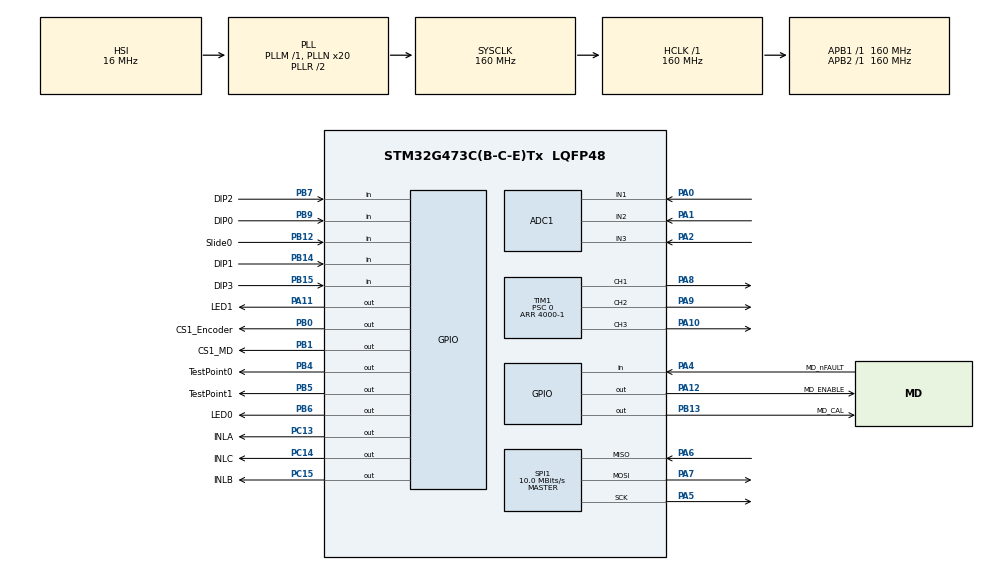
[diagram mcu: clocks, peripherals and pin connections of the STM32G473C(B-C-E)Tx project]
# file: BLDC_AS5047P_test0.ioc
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ADC1.DiscontinuousConvMode=DISABLE
ADC1.EnableInjectedConversion=ENABLE
ADC1.EnableRegularConversion=DISABLE
ADC1.ExternalTrigInjecConv=ADC_EXTERNALTRIGINJEC_T1_TRGO2
ADC1.InjNumberOfConversion=3
ADC1.InjectedChannel-3\#ChannelInjectedConversion=ADC_CHANNEL_1
ADC1.InjectedChannel-4\#ChannelInjectedConversion=ADC_CHANNEL_2
ADC1.InjectedChannel-5\#ChannelInjectedConversion=ADC_CHANNEL_3
ADC1.InjectedOffsetNumber-3\#ChannelInjectedConversion=ADC_OFFSET_NONE
ADC1.InjectedOffsetNumber-4\#ChannelInjectedConversion=ADC_OFFSET_NONE
ADC1.InjectedOffsetNumber-5\#ChannelInjectedConversion=ADC_OFFSET_NONE
ADC1.InjectedRank-3\#ChannelInjectedConversion=1
ADC1.InjectedRank-4\#ChannelInjectedConversion=2
ADC1.InjectedRank-5\#ChannelInjectedConversion=3
ADC1.InjectedSamplingTime-3\#ChannelInjectedConversion=ADC_SAMPLETIME_12CYCLES_5
ADC1.InjectedSamplingTime-4\#ChannelInjectedConversion=ADC_SAMPLETIME_12CYCLES_5
ADC1.InjectedSamplingTime-5\#ChannelInjectedConversion=ADC_SAMPLETIME_12CYCLES_5
ADC1.OversamplingMode=DISABLE
ADC1.Rank1_Channel=ADC_CHANNEL_1
ADC1.Rank2_Channel=ADC_CHANNEL_2
ADC1.Rank3_Channel=ADC_CHANNEL_3
ADC1.master=1
Mcu.Family=STM32G4
Mcu.Name=STM32G473C(B-C-E)Tx
Mcu.Package=LQFP48
NVIC.ADC1_2_IRQn=true\:8\:0\:true\:false\:true\:true\:true\:true
NVIC.PriorityGroup=NVIC_PRIORITYGROUP_4
NVIC.TIM1_CC_IRQn=true\:7\:0\:true\:false\:true\:true\:true\:true
NVIC.TIM3_IRQn=true\:6\:0\:true\:false\:true\:true\:true\:true
PA0.Mode=IN1-Single-Ended
PA0.Signal=ADC1_IN1
PA1.Mode=IN2-Single-Ended
PA1.Signal=ADC1_IN2
PA10.Signal=S_TIM1_CH3
PA11.GPIO_Label=LED1
PA11.Signal=GPIO_Output
PA12.GPIO_Label=MD_ENABLE
PA12.Signal=GPIO_Output
PA13.Mode=Trace_Asynchronous_SW
PA13.Signal=SYS_JTMS-SWDIO
PA14.Mode=Trace_Asynchronous_SW
PA14.Signal=SYS_JTCK-SWCLK
PA2.Mode=IN3-Single-Ended
PA2.Signal=ADC1_IN3
PA4.GPIO_Label=MD_nFAULT
PA4.Signal=GPIO_Input
PA5.GPIO_Speed=GPIO_SPEED_FREQ_MEDIUM
PA5.Mode=Full_Duplex_Master
PA5.Signal=SPI1_SCK
PA6.GPIO_Speed=GPIO_SPEED_FREQ_MEDIUM
PA6.Mode=Full_Duplex_Master
PA6.Signal=SPI1_MISO
PA7.GPIO_Speed=GPIO_SPEED_FREQ_MEDIUM
PA7.Mode=Full_Duplex_Master
PA7.Signal=SPI1_MOSI
PA8.Signal=S_TIM1_CH1
PA9.Signal=S_TIM1_CH2
PB0.GPIO_Label=CS1_Encoder
PB0.PinState=GPIO_PIN_SET
PB0.Signal=GPIO_Output
PB1.GPIO_Label=CS1_MD
PB1.PinState=GPIO_PIN_SET
PB1.Signal=GPIO_Output
PB12.GPIO_Label=Slide0
PB12.Signal=GPIO_Input
PB13.GPIO_Label=MD_CAL
PB13.Signal=GPIO_Output
PB14.GPIO_Label=DIP1
PB14.Signal=GPIO_Input
PB15.GPIO_Label=DIP3
PB15.Signal=GPIO_Input
PB3.Mode=Trace_Asynchronous_SW
PB3.Signal=SYS_JTDO-SWO
PB4.GPIO_Label=TestPoint0
PB4.Signal=GPIO_Output
PB5.GPIO_Label=TestPoint1
PB5.Signal=GPIO_Output
PB6.GPIO_Label=LED0
PB6.Signal=GPIO_Output
PB7.GPIO_Label=DIP2
PB7.Signal=GPIO_Input
PB9.GPIO_Label=DIP0
PB9.Signal=GPIO_Input
PC13.GPIO_Label=INLA
PC13.Signal=GPIO_Output
PC14-OSC32_IN.GPIO_Label=INLC
PC14-OSC32_IN.Signal=GPIO_Output
PC15-OSC32_OUT.GPIO_Label=INLB
PC15-OSC32_OUT.Signal=GPIO_Output
PF0-OSC_IN.Mode=HSE-External-Oscillator
PF0-OSC_IN.Signal=RCC_OSC_IN
PF1-OSC_OUT.Mode=HSE-External-Oscillator
PF1-OSC_OUT.Signal=RCC_OSC_OUT
ProjectManager.HeapSize=0x200
ProjectManager.StackSize=0x400
ProjectManager.TargetToolchain=STM32CubeIDE
RCC.ADC12Freq_Value=160000000
RCC.ADC345Freq_Value=160000000
RCC.AHBFreq_Value=160000000
RCC.APB1Freq_Value=160000000
RCC.APB1TimFreq_Value=160000000
RCC.APB2Freq_Value=160000000
RCC.APB2TimFreq_Value=160000000
RCC.CortexFreq_Value=160000000
RCC.EXTERNAL_CLOCK_VALUE=12288000
RCC.HCLKFreq_Value=160000000
RCC.HSE_VALUE=16000000
RCC.HSI48_VALUE=48000000
RCC.HSI_VALUE=16000000
RCC.LSE_VALUE=32768
RCC.PLLN=20
RCC.SYSCLKFreq_VALUE=160000000
RCC.SYSCLKSource=RCC_SYSCLKSOURCE_PLLCLK
RCC.USBFreq_Value=160000000
RCC.VCOOutputFreq_Value=320000000
SH.S_TIM1_CH1.0=TIM1_CH1,PWM Generation1 CH1
SH.S_TIM1_CH2.0=TIM1_CH2,PWM Generation2 CH2
SH.S_TIM1_CH3.0=TIM1_CH3,PWM Generation3 CH3
SPI1.BaudRatePrescaler=SPI_BAUDRATEPRESCALER_16
SPI1.CLKPhase=SPI_PHASE_2EDGE
SPI1.CLKPolarity=SPI_POLARITY_LOW
SPI1.CalculateBaudRate=10.0 MBits/s
SPI1.DataSize=SPI_DATASIZE_16BIT
SPI1.Direction=SPI_DIRECTION_2LINES
SPI1.Mode=SPI_MODE_MASTER
SPI1.VirtualType=VM_MASTER
TIM1.Channel-PWM\ Generation1\ CH1=TIM_CHANNEL_1
TIM1.Channel-PWM\ Generation2\ CH2=TIM_CHANNEL_2
TIM1.Channel-PWM\ Generation3\ CH3=TIM_CHANNEL_3
TIM1.Channel-PWM\ Generation4\ No\ Output=TIM_CHANNEL_4
TIM1.CounterMode=TIM_COUNTERMODE_CENTERALIGNED3
TIM1.OCMode_PWM-PWM\ Generation4\ No\ Output=TIM_OCMODE_PWM2
TIM1.PeriodNoDither=4000-1
TIM1.Prescaler=0
TIM1.TIM_MasterOutputTrigger=TIM_TRGO_UPDATE
TIM1.TIM_MasterOutputTrigger2=TIM_TRGO2_OC4REF
TIM3.Channel-PWM\ Generation1\ CH1=TIM_CHANNEL_1
TIM3.Channel-PWM\ Generation2\ CH2=TIM_CHANNEL_2
TIM3.Channel-PWM\ Generation3\ CH3=TIM_CHANNEL_3
TIM3.PeriodNoDither=65536-1
TIM3.Prescaler=15
VP_CORDIC_VS_CORDIC.Mode=CORDIC_Activate
VP_FMAC_VS_FMAC.Mode=FMAC_Activate
VP_SYS_VS_DBSignals.Mode=DisableDeadBatterySignals
VP_TIM1_VS_ClockSourceINT.Mode=Internal
VP_TIM1_VS_no_output4.Mode=PWM Generation4 No Output
VP_TIM3_VS_ClockSourceINT.Mode=Internal
board=custom

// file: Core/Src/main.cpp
/* USER CODE BEGIN Header */
/**
  ******************************************************************************
  * @file           : main.c
  * @brief          : Main program body
  ******************************************************************************
  * @attention
  *
  * Copyright (c) 2024 STMicroelectronics.
  * All rights reserved.
  *
  * This software is licensed under terms that can be found in the LICENSE file
  * in the root directory of this software component.
  * If no LICENSE file comes with this software, it is provided AS-IS.
  *
  ******************************************************************************
  */
/* USER CODE END Header */
#include "main.h"

/* USER CODE BEGIN Includes */
#include "DRV8323S.h"
#include "AS5047P.h"
#include <stdio.h>
#include <stdlib.h>
#include <stdbool.h>
#include <math.h>
#include <stm32g4xx_hal_cordic.h>
/* USER CODE END Includes */

/* USER CODE BEGIN PD */
#define n_polepairs 7
#define FMAC_window 20

////PID gain
//#define K_p_omega_mech 10
//#define K_i_omega_mech 10//multiplied T_s/2, 2^16
//
//#define K_p_i_d 1
//#define K_i_i_d 1//multiplied T_s/2
//
//#define K_p_i_q 1
//#define K_i_i_q 1//multiplied T_s/2

/* USER CODE END PD */

ADC_HandleTypeDef hadc1;

CORDIC_HandleTypeDef hcordic;

FMAC_HandleTypeDef hfmac;

SPI_HandleTypeDef hspi1;

TIM_HandleTypeDef htim1;
TIM_HandleTypeDef htim3;

/* USER CODE BEGIN PV */

//SYSTEM//
//GPIO handler array
__GPIO_Handle_TypeDef DRV8323S_GPIO_Handle_Array[7];

//PWM handler array
__PWM_Handle_TypeDef DRV8323S_PWM_Handle_Array[3];

//time
uint32_t cnt_ovf_TIM3 = 0;

uint64_t t_prev_loop_100ns = 0;
uint64_t t_curr_loop_100ns = 0;
int64_t T_loop_100ns = 0;

uint64_t t_prev_100ns = 0;
uint64_t t_start_100ns = 0;
uint64_t t_end_100ns = 0;

int64_t T_s_100ns = 0;
int64_t T_proc_100ns = 0;

//LED
uint64_t t_Ltika_prev_100ns = 0;

uint16_t cnt_Ltika_0 = 0;
uint8_t flag_LED0 = 0;
uint8_t flag_LED1 = 0;

//angle
uint16_t theta_init = 0;

uint16_t theta_mech_curr = 0;
uint16_t theta_elec_curr = 0;
uint16_t theta_mech_prev = 0;
//uint16_t theta_elec_prev = 0;
uint32_t theta_mech_curr_x256 = 0;
uint32_t theta_mech_prev_x256 = 0;

//speed
int16_t omega_mech_curr_x256 = 0;
//int16_t omega_elec_curr_x256 = 0;
int16_t omega_mech_prev_x256= 0;
//int16_t omega_elec_prev_x256 = 0;

//filtered speed
int16_t omega_mech_filt_curr_x256 = 0;
int16_t omega_mech_filt_prev_x256 = 0;

//FMAC
int16_t FMAC_coeff[FMAC_window] = {0};
int16_t FMAC_in = 0;
int16_t FMAC_out = 0;

//CORDIC
uint32_t CORDIC_in = 0;
uint32_t CORDIC_out = 0;
int16_t sincos_theta[2] = {0};//fixed point number, [0]=sin, [1]=cos
int32_t sincos_theta_xrt3[2] = {0};////multiplied root3, fixed point number, [0]=sin, [1]=cos

//ADC, current
uint16_t adc_raw_uvw[3] = {0};
int16_t i_uvw[3] = {0};
int16_t i_dq[2] = {0};

//PI
//PI gain
int32_t K_p_omega_mech = 100;
int32_t K_i_omega_mech = 30;//multiplied T_s/2, 2^10

int32_t K_p_i_d = 100;
int32_t K_i_i_d = 100;//multiplied T_s/2, 2^10

int32_t K_p_i_q = 100;
int32_t K_i_i_q = 100;//multiplied T_s/2, 2^10

int32_t anti_windup_omega_mech = 100000;
int32_t anti_windup_i_dq[2] = {50000, 50000};

//reference
int16_t omega_mech_ref_x256 = 0;
int16_t i_dq_ref[2] = {0};

//error
int32_t e_omega_mech_curr_x256 = 0;
int32_t e_omega_mech_prev_x256 = 0;
int32_t int_e_omega_mech_x256 = 0;

int32_t e_i_dq_curr[2] = {0};
int32_t e_i_dq_prev[2] = {0};
int32_t int_e_i_dq[2] = {0};

//voltage
int16_t v_uvw[3] = {0};
int16_t v_dq[2] = {0};

//output
uint16_t dutys[3] = {0};//0 ~ 3999 (limit ~3300)
//bool flag_bridge_hiZ[3] = {0};//0 or 1, if 0:Hi-Z/1:drive
bool flag_drive_slide = 0;
bool flag_drive_UI = 0;

//USER//
float RPS = 0.0;//Roll Per Second, if minus sign; reverse(-9 ~ 9)
float RPS_elec = 0.0;//Roll Per Second : electric, mul7

//DEBUG//
float onetime_variable = 0;

//int val_CCR1 = 0;
//int val_CCR2 = 0;
//int val_CCR3 = 0;
//
//int16_t val_past_ref_angle_mul10 = 0;//0 ~ 3599, past angle multiplied by 10
//int16_t val_ref_angle_mul10 = 0;//0 ~ 3599, now angle multiplied by 10
//int16_t val_ref_phases_mul10[3] = {0};//0 ~ 3599, reference each(UVW) phases
//
//int loop_counter = 0;//count loop times

//int reg_TIM1_DIER = 0x0;
//int reg_TIM1_SR = 0x0;
//int reg_TIM1_CCER = 0x0;
//int reg_TIM1_CR1 = 0x0;
//int reg_TIM1_CCMR2 = 0x0;
//
//int reg_TIM3_DIER = 0x0;
//int reg_TIM3_SR = 0x0;
//int reg_TIM3_CCER = 0x0;
//int reg_TIM3_CR1 = 0x0;
//int reg_TIM3_CCMR2 = 0x0;

//int reg_CORDIC_CSR = 0x0;

//int temp0 = 0;
//int temp1 = 0;

int duty_phaseA = 0;//~3300

//int temp_omega_mech_curr = 0;

/* USER CODE END PV */

void SystemClock_Config(void);
static void MX_GPIO_Init(void);
static void MX_SPI1_Init(void);
static void MX_TIM3_Init(void);
static void MX_TIM1_Init(void);
static void MX_ADC1_Init(void);
static void MX_CORDIC_Init(void);
static void MX_FMAC_Init(void);
/* USER CODE BEGIN PFP */
void DRV8323SHandleArray_setup(__GPIO_Handle_TypeDef*, __PWM_Handle_TypeDef*);
void FMAC_setup_FIR(int16_t*);
void write_FMAC(int16_t);
int16_t read_FMAC();
/* USER CODE END PFP */

/* USER CODE BEGIN 0 */
void HAL_TIM_PeriodElapsedCallback(TIM_HandleTypeDef *htim){
    if (htim == &htim3){
    	cnt_ovf_TIM3 ++;
    }
}

//void HAL_TIM_PWM_PulseFinishedCallback(TIM_HandleTypeDef *htim){
//    HAL_GPIO_TogglePin(TestPoint1_GPIO_Port, TestPoint1_Pin);
//}

void HAL_ADCEx_InjectedConvCpltCallback(ADC_HandleTypeDef *hadc){
	//DEBUG//
	//calculate time
	t_start_100ns = (((uint64_t)cnt_ovf_TIM3) << 16) + (TIM3 -> CNT);
	T_s_100ns = t_start_100ns - t_prev_100ns;

	//toggle TP
	HAL_GPIO_TogglePin(TestPoint0_GPIO_Port, TestPoint0_Pin);
	//DEBUG//

	//get angle
	uint16_t Send_Data = 0xFFFFu;
	uint16_t Receive_Data = 0;
	HAL_GPIO_WritePin(CS1_Encoder_GPIO_Port, CS1_Encoder_Pin, GPIO_PIN_RESET);//CS1_MD->0
	HAL_SPI_TransmitReceive(&hspi1, (uint8_t*)(&Send_Data), (uint8_t*)(&Receive_Data), 1, 100);//SPI send&receive
	HAL_GPIO_WritePin(CS1_Encoder_GPIO_Port, CS1_Encoder_Pin, GPIO_PIN_SET);//CS1_MD->1
	Receive_Data &= 0x3FFF; //mask angle data

	theta_mech_curr = (Receive_Data - theta_init) & 0x3FFFu; // scaling mechanical angle as 0 ~ 16383 (14bit)
	theta_elec_curr = ((theta_mech_curr * n_polepairs) & 0x3FFFu) << 2; // calculate electrical angle as 0 ~ 65535 (16bit)

	//start CORDIC
	CORDIC_in = theta_elec_curr; //substitute angle data for CORDIC argument (unsigned -> signed)
	CORDIC->WDATA = (0x7FFFu << 16) | CORDIC_in; //set ARG2 as m=1, and ARG1 (-1 ~ 1)

	//calc speed
	omega_mech_curr_x256 = ((int16_t)(theta_mech_curr - theta_mech_prev)) << 8;

	//start FMAC
	FMAC_in = omega_mech_curr_x256;
	write_FMAC(FMAC_in);

	//get current
	adc_raw_uvw[0] = ADC1->JDR1;
	adc_raw_uvw[1] = ADC1->JDR2;
	adc_raw_uvw[2] = ADC1->JDR3;

	i_uvw[0] = ((int16_t)(adc_raw_uvw[0]) - 2048) * 305 / 106;
	i_uvw[1] = ((int16_t)(adc_raw_uvw[1]) - 2048) * 305 / 106;
	i_uvw[2] = ((int16_t)(adc_raw_uvw[2]) - 2048) * 305 / 106;

	//read CORDIC
	while((CORDIC->CSR&0x80000000u)==0){};

	CORDIC_out = CORDIC->RDATA;
	sincos_theta[0] = (int16_t)(CORDIC_out);//RES1 = sin
	sincos_theta[1] = (int16_t)(CORDIC_out >> 16);//RES2 = cos

	//calc sincos root3 table : multiply by root3
	sincos_theta_xrt3[0] = sincos_theta[0] * 5042 / 2911;
	sincos_theta_xrt3[1] = sincos_theta[1] * 5042 / 2911;

	//uvw -> dq
	i_dq[0] = (( 2 * sincos_theta[1] * i_uvw[0]
			+ (-sincos_theta[1] + sincos_theta_xrt3[0]) * i_uvw[1]
			+ (-sincos_theta[1] - sincos_theta_xrt3[0]) * i_uvw[2]) / 3) >> 15;//[0] = i_d, gain = 40
	i_dq[1] = ((-2 * sincos_theta[0] * i_uvw[0]
			+ ( sincos_theta[0] + sincos_theta_xrt3[1]) * i_uvw[1]
			+ ( sincos_theta[0] - sincos_theta_xrt3[1]) * i_uvw[2]) / 3) >> 15;//[1] = i_q, gain = 40

	//read FMAC
	FMAC_out = read_FMAC();
	omega_mech_filt_curr_x256 = FMAC_out;

	//PI speed control : speed -> current
	e_omega_mech_curr_x256 = omega_mech_ref_x256 - omega_mech_filt_curr_x256;
	int_e_omega_mech_x256 += e_omega_mech_curr_x256;
	//i_d=0 control
	i_dq_ref[0] = 0;
	i_dq_ref[1] = (K_p_omega_mech * e_omega_mech_curr_x256
				+  K_i_omega_mech * int_e_omega_mech_x256) >> 10;

	//limit integer
	if(int_e_omega_mech_x256 > (anti_windup_omega_mech))
		{int_e_omega_mech_x256 = (anti_windup_omega_mech);}
	else if(int_e_omega_mech_x256 < -(anti_windup_omega_mech))
		{int_e_omega_mech_x256 = -(anti_windup_omega_mech);}
	else{int_e_omega_mech_x256 = int_e_omega_mech_x256;}

	//PI current control : current -> voltage
	//i_d control
	e_i_dq_curr[0] = i_dq_ref[0] - i_dq[0];
	int_e_i_dq[0] += e_i_dq_curr[0];

	v_dq[0] = (K_p_i_d * e_i_dq_curr[0]
			+  K_i_i_d * int_e_i_dq[0]) >> 10;

	//i_q control
	e_i_dq_curr[1] = i_dq_ref[1] - i_dq[1];
	int_e_i_dq[1] += e_i_dq_curr[1];

	v_dq[1] = (K_p_i_q * e_i_dq_curr[1]
			+  K_i_i_q * int_e_i_dq[1]) >> 10;

	//limit integer
	for(int i=0; i<2; i++){
		if(int_e_i_dq[i] > (anti_windup_i_dq[i]))
			{int_e_i_dq[i] = (anti_windup_i_dq[i]);}
		else if(int_e_i_dq[i] < -(anti_windup_i_dq[i]))
			{int_e_i_dq[i] = -(anti_windup_i_dq[i]);}
		else{int_e_i_dq[i] = int_e_i_dq[i];}
	}

	//dq -> uvw
	v_uvw[0] = (((2 * sincos_theta[1]) * v_dq[0]
			 + ( -2 * sincos_theta[0]) * v_dq[1]) >> 1) >> 15;//[0] = v_u
	v_uvw[1] = (((-sincos_theta[1] + sincos_theta_xrt3[0]) * v_dq[0]
			 + (   sincos_theta[0] + sincos_theta_xrt3[1]) * v_dq[1]) >> 1) >> 15;//[1] = v_v
	v_uvw[2] = (((-sincos_theta[1] - sincos_theta_xrt3[0]) * v_dq[0]
			 + (   sincos_theta[0] - sincos_theta_xrt3[1]) * v_dq[1]) >> 1) >> 15;//[2] = v_w

	//calc dutys
	int16_t __dutys[3] = {0};
	__dutys[0] = 1999 + v_uvw[0];
	__dutys[1] = 1999 + v_uvw[1];
	__dutys[2] = 1999 + v_uvw[2];

	//limit dutys
	for(int i=0; i<3; i++){
		if(__dutys[i] > 3300){dutys[i] = 3300;}
		else if(__dutys[i] < 0){dutys[i] = 0;}
		else{dutys[i] = __dutys[i];}
	}

	//read drive flag
	flag_drive_slide = HAL_GPIO_ReadPin(Slide0_GPIO_Port, Slide0_Pin);

	//set compare
	if((flag_drive_slide == 1) && (flag_drive_UI == 1)){
		HAL_GPIO_WritePin(INLA_GPIO_Port, INLA_Pin, GPIO_PIN_SET);
		__HAL_TIM_SET_COMPARE(&htim1, TIM_CHANNEL_1, dutys[0]);

		HAL_GPIO_WritePin(INLB_GPIO_Port, INLB_Pin, GPIO_PIN_SET);
		__HAL_TIM_SET_COMPARE(&htim1, TIM_CHANNEL_2, dutys[1]);

		HAL_GPIO_WritePin(INLC_GPIO_Port, INLC_Pin, GPIO_PIN_SET);
		__HAL_TIM_SET_COMPARE(&htim1, TIM_CHANNEL_3, dutys[2]);
	}else{
		HAL_GPIO_WritePin(INLA_GPIO_Port, INLA_Pin, GPIO_PIN_RESET);
		__HAL_TIM_SET_COMPARE(&htim1, TIM_CHANNEL_1, 0);

		HAL_GPIO_WritePin(INLB_GPIO_Port, INLB_Pin, GPIO_PIN_RESET);
		__HAL_TIM_SET_COMPARE(&htim1, TIM_CHANNEL_2, 0);

		HAL_GPIO_WritePin(INLC_GPIO_Port, INLC_Pin, GPIO_PIN_RESET);
		__HAL_TIM_SET_COMPARE(&htim1, TIM_CHANNEL_3, 0);

		//reset integer
		int_e_omega_mech_x256 = 0;
		int_e_i_dq[0] = 0;
		int_e_i_dq[1] = 0;
	}

	//substitute NOW data for PAST data
	theta_mech_prev = theta_mech_curr;
	theta_mech_prev_x256 = theta_mech_curr_x256;
	omega_mech_prev_x256 = omega_mech_curr_x256;
	e_omega_mech_prev_x256 = e_omega_mech_curr_x256;

	//DEBUG//
    //calc time
	t_prev_100ns = t_start_100ns;
	t_end_100ns = (((uint64_t)cnt_ovf_TIM3) << 16) + (TIM3 -> CNT);
	T_proc_100ns = t_end_100ns - t_start_100ns;
	//DEBUG//
}

/* USER CODE END 0 */

int main(void)
{

  /* MCU Configuration--------------------------------------------------------*/

  /* Reset of all peripherals, Initializes the Flash interface and the Systick. */
  HAL_Init();

  /* Configure the system clock */
  SystemClock_Config();

  /* Initialize all configured peripherals */
  MX_GPIO_Init();
  MX_SPI1_Init();
  MX_TIM3_Init();
  MX_TIM1_Init();
  MX_ADC1_Init();
  MX_CORDIC_Init();
  MX_FMAC_Init();
  /* USER CODE BEGIN 2 */

  //calc FMAC coeff
  for(int i=0; i<FMAC_window; i++){
      FMAC_coeff[i] = ((6 * (i+1) * (FMAC_window - i)) << 15)
                      /(FMAC_window * FMAC_window * FMAC_window
                    		  + 3 * FMAC_window * FMAC_window
							  + 2 * FMAC_window);
  }

  //set FMAC as FIR
  FMAC_setup_FIR(FMAC_coeff);

  //set ADC
  HAL_ADCEx_Calibration_Start(&hadc1, ADC_SINGLE_ENDED);
  HAL_ADC_Start(&hadc1);
//  HAL_ADCEx_InjectedStart_IT(&hadc1);

  //set timer
  HAL_TIM_Base_Start_IT(&htim3);
  HAL_TIM_PWM_Start(&htim1, TIM_CHANNEL_1);
  HAL_TIM_PWM_Start(&htim1, TIM_CHANNEL_2);
  HAL_TIM_PWM_Start(&htim1, TIM_CHANNEL_3);
  HAL_TIM_PWM_Start(&htim1, TIM_CHANNEL_4);
//  HAL_TIM_PWM_Start_IT(&htim1, TIM_CHANNEL_4);
//  TIM1 -> DIER |= 0b10000;
  TIM1 -> CCR4 = 3999 - 550; //set ADC trigger compare

  //set time counter
  t_curr_loop_100ns = (((uint64_t)cnt_ovf_TIM3) << 16) + (TIM3 -> CNT);
  t_prev_loop_100ns = t_curr_loop_100ns;
  t_Ltika_prev_100ns = t_curr_loop_100ns;

  //set LED
  HAL_GPIO_WritePin(LED0_GPIO_Port, LED0_Pin, GPIO_PIN_SET);
  flag_LED0 = 1;
  HAL_GPIO_WritePin(LED1_GPIO_Port, LED1_Pin, GPIO_PIN_RESET);
  flag_LED1 = 0;

  //set Class
  DRV8323SHandleArray_setup(DRV8323S_GPIO_Handle_Array, DRV8323S_PWM_Handle_Array);//setting Handle Arrays
  DRV8323S drv8323s(DRV8323S_GPIO_Handle_Array, DRV8323S_PWM_Handle_Array, &hspi1);
  AS5047P as5047p(&hspi1, CS1_Encoder_GPIO_Port, CS1_Encoder_Pin);

  //standby
  HAL_Delay(2000);

  /* USER CODE END 2 */

  /* Infinite loop */
  /* USER CODE BEGIN WHILE */

  //set DRV8323
  if(drv8323s.setup() == 0){
  }else{//ERROR
	  while(1){
		  HAL_GPIO_TogglePin(LED0_GPIO_Port, LED0_Pin);
		  flag_LED0 += 1;
		  flag_LED0 %= 2;

		  HAL_GPIO_TogglePin(LED1_GPIO_Port, LED1_Pin);
		  flag_LED1 += 1;
		  flag_LED1 %= 2;

		  HAL_Delay(100);
	  }
  }

  //set AS5047P
  //lock motor
  drv8323s.PWM_OUT(0, GPIO_PIN_SET, 0);
  drv8323s.PWM_OUT(1, GPIO_PIN_SET, 0);
  drv8323s.PWM_OUT(2, GPIO_PIN_SET, 0);

  //slow start
  int lock_duty = 0;
  while(lock_duty < 600){
	  drv8323s.PWM_OUT(0, GPIO_PIN_SET, lock_duty);
	  drv8323s.PWM_OUT(1, GPIO_PIN_SET, 0);
	  drv8323s.PWM_OUT(2, GPIO_PIN_SET, 0);

	  lock_duty += 3;
	  HAL_Delay(1);
  }

  drv8323s.PWM_OUT(0, GPIO_PIN_SET, 600);
  drv8323s.PWM_OUT(1, GPIO_PIN_SET, 0);
  drv8323s.PWM_OUT(2, GPIO_PIN_SET, 0);
  HAL_Delay(2000);

  //set initial angle
  as5047p.setup();
  theta_init = as5047p.get_initial_angle();

  //unlock motor
  drv8323s.PWM_OUT(0, GPIO_PIN_RESET, 0);
  drv8323s.PWM_OUT(1, GPIO_PIN_RESET, 0);
  drv8323s.PWM_OUT(2, GPIO_PIN_RESET, 0);

  //standby
  HAL_Delay(800);

  //control start
  HAL_ADCEx_InjectedStart_IT(&hadc1);

  while (1)
  {
	// calculate 1　loop time//
	t_curr_loop_100ns = ((uint64_t)cnt_ovf_TIM3 << 16) + (TIM3 -> CNT);
	T_loop_100ns = t_curr_loop_100ns - t_prev_loop_100ns;
	t_prev_loop_100ns = t_curr_loop_100ns;

//	reg_TIM1_DIER = TIM1 -> DIER;
//	reg_TIM1_SR = TIM1 -> SR;
//	reg_TIM1_CCER = TIM1 -> CCER;
//	reg_TIM1_CR1 = TIM1 -> CR1;
//	reg_TIM1_CCMR2 = TIM1 -> CCMR2;
//
//	reg_TIM3_DIER = TIM3 -> DIER;
//	reg_TIM3_SR = TIM3 -> SR;
//	reg_TIM3_CCER = TIM3 -> CCER;
//	reg_TIM3_CR1 = TIM3 -> CR1;
//	reg_TIM3_CCMR2 = TIM3 -> CCMR2;

    /* USER CODE END WHILE */

    /* USER CODE BEGIN 3 */

//	drv8323s.PWM_OUT(0, GPIO_PIN_SET, duty_phaseA);
//	drv8323s.PWM_OUT(1, GPIO_PIN_SET, 0);
//	drv8323s.PWM_OUT(2, GPIO_PIN_SET, 0);

//	//output each Duty
//	for(uint8_t i=0; i<3; i++){
//		if(flag_bridge_HiZ[i] == 1){
//			drv8323s.PWM_OUT(i, GPIO_PIN_SET, dutys[i]);
//		}else{
//			drv8323s.PWM_OUT(i, GPIO_PIN_RESET, dutys[i]);
//		}
//	}

	//Lチカ//
	int temp0 = t_curr_loop_100ns - t_Ltika_prev_100ns;
	if(temp0 > 10000000){
		HAL_GPIO_TogglePin(LED0_GPIO_Port, LED0_Pin);
		flag_LED0 += 1;
		flag_LED0 %= 2;

		HAL_GPIO_TogglePin(LED1_GPIO_Port, LED1_Pin);
		flag_LED1 += 1;
		flag_LED1 %= 2;

		cnt_Ltika_0 ++;
		t_Ltika_prev_100ns = t_curr_loop_100ns;
	}else{}
  }
  /* USER CODE END 3 */
}

void SystemClock_Config(void)
{
  RCC_OscInitTypeDef RCC_OscInitStruct = {0};
  RCC_ClkInitTypeDef RCC_ClkInitStruct = {0};

  /** Configure the main internal regulator output voltage
  */
  HAL_PWREx_ControlVoltageScaling(PWR_REGULATOR_VOLTAGE_SCALE1_BOOST);

  /** Initializes the RCC Oscillators according to the specified parameters
  * in the RCC_OscInitTypeDef structure.
  */
  RCC_OscInitStruct.OscillatorType = RCC_OSCILLATORTYPE_HSI;
  RCC_OscInitStruct.HSIState = RCC_HSI_ON;
  RCC_OscInitStruct.HSICalibrationValue = RCC_HSICALIBRATION_DEFAULT;
  RCC_OscInitStruct.PLL.PLLState = RCC_PLL_ON;
  RCC_OscInitStruct.PLL.PLLSource = RCC_PLLSOURCE_HSI;
  RCC_OscInitStruct.PLL.PLLM = RCC_PLLM_DIV1;
  RCC_OscInitStruct.PLL.PLLN = 20;
  RCC_OscInitStruct.PLL.PLLP = RCC_PLLP_DIV2;
  RCC_OscInitStruct.PLL.PLLQ = RCC_PLLQ_DIV2;
  RCC_OscInitStruct.PLL.PLLR = RCC_PLLR_DIV2;
  if (HAL_RCC_OscConfig(&RCC_OscInitStruct) != HAL_OK)
  {
    Error_Handler();
  }

  /** Initializes the CPU, AHB and APB buses clocks
  */
  RCC_ClkInitStruct.ClockType = RCC_CLOCKTYPE_HCLK|RCC_CLOCKTYPE_SYSCLK
                              |RCC_CLOCKTYPE_PCLK1|RCC_CLOCKTYPE_PCLK2;
  RCC_ClkInitStruct.SYSCLKSource = RCC_SYSCLKSOURCE_PLLCLK;
  RCC_ClkInitStruct.AHBCLKDivider = RCC_SYSCLK_DIV1;
  RCC_ClkInitStruct.APB1CLKDivider = RCC_HCLK_DIV1;
  RCC_ClkInitStruct.APB2CLKDivider = RCC_HCLK_DIV1;

  if (HAL_RCC_ClockConfig(&RCC_ClkInitStruct, FLASH_LATENCY_4) != HAL_OK)
  {
    Error_Handler();
  }
}

static void MX_ADC1_Init(void)
{

  ADC_MultiModeTypeDef multimode = {0};
  ADC_InjectionConfTypeDef sConfigInjected = {0};

  /** Common config
  */
  hadc1.Instance = ADC1;
  hadc1.Init.ClockPrescaler = ADC_CLOCK_SYNC_PCLK_DIV4;
  hadc1.Init.Resolution = ADC_RESOLUTION_12B;
  hadc1.Init.DataAlign = ADC_DATAALIGN_RIGHT;
  hadc1.Init.GainCompensation = 0;
  hadc1.Init.ScanConvMode = ADC_SCAN_ENABLE;
  hadc1.Init.EOCSelection = ADC_EOC_SINGLE_CONV;
  hadc1.Init.LowPowerAutoWait = DISABLE;
  hadc1.Init.ContinuousConvMode = DISABLE;
  hadc1.Init.NbrOfConversion = 1;
  hadc1.Init.DiscontinuousConvMode = DISABLE;
  hadc1.Init.DMAContinuousRequests = DISABLE;
  hadc1.Init.Overrun = ADC_OVR_DATA_PRESERVED;
  hadc1.Init.OversamplingMode = DISABLE;
  if (HAL_ADC_Init(&hadc1) != HAL_OK)
  {
    Error_Handler();
  }

  /** Configure the ADC multi-mode
  */
  multimode.Mode = ADC_MODE_INDEPENDENT;
  if (HAL_ADCEx_MultiModeConfigChannel(&hadc1, &multimode) != HAL_OK)
  {
    Error_Handler();
  }

  /** Configure Injected Channel
  */
  sConfigInjected.InjectedChannel = ADC_CHANNEL_1;
  sConfigInjected.InjectedRank = ADC_INJECTED_RANK_1;
  sConfigInjected.InjectedSamplingTime = ADC_SAMPLETIME_12CYCLES_5;
  sConfigInjected.InjectedSingleDiff = ADC_SINGLE_ENDED;
  sConfigInjected.InjectedOffsetNumber = ADC_OFFSET_NONE;
  sConfigInjected.InjectedOffset = 0;
  sConfigInjected.InjectedNbrOfConversion = 3;
  sConfigInjected.InjectedDiscontinuousConvMode = DISABLE;
  sConfigInjected.AutoInjectedConv = DISABLE;
  sConfigInjected.QueueInjectedContext = DISABLE;
  sConfigInjected.ExternalTrigInjecConv = ADC_EXTERNALTRIGINJEC_T1_TRGO2;
  sConfigInjected.ExternalTrigInjecConvEdge = ADC_EXTERNALTRIGINJECCONV_EDGE_RISING;
  sConfigInjected.InjecOversamplingMode = DISABLE;
  if (HAL_ADCEx_InjectedConfigChannel(&hadc1, &sConfigInjected) != HAL_OK)
  {
    Error_Handler();
  }

  /** Configure Injected Channel
  */
  sConfigInjected.InjectedChannel = ADC_CHANNEL_2;
  sConfigInjected.InjectedRank = ADC_INJECTED_RANK_2;
  if (HAL_ADCEx_InjectedConfigChannel(&hadc1, &sConfigInjected) != HAL_OK)
  {
    Error_Handler();
  }

  /** Configure Injected Channel
  */
  sConfigInjected.InjectedChannel = ADC_CHANNEL_3;
  sConfigInjected.InjectedRank = ADC_INJECTED_RANK_3;
  if (HAL_ADCEx_InjectedConfigChannel(&hadc1, &sConfigInjected) != HAL_OK)
  {
    Error_Handler();
  }

}

static void MX_CORDIC_Init(void)
{

  hcordic.Instance = CORDIC;
  if (HAL_CORDIC_Init(&hcordic) != HAL_OK)
  {
    Error_Handler();
  }
  /* USER CODE BEGIN CORDIC_Init 2 */
  CORDIC_ConfigTypeDef sCordicConfig;
  sCordicConfig.Function	= CORDIC_FUNCTION_SINE;    /* sinを計算 */
  sCordicConfig.Precision	= CORDIC_PRECISION_4CYCLES; 	/* 反復回数（計算精度）を設定する */
  sCordicConfig.Scale      	= CORDIC_SCALE_0;           /* scale設定。sinでは使用しない */
  sCordicConfig.NbWrite  	= CORDIC_NBWRITE_1;         	/* 入力データの数。1ならば位相のみ、2ならば位相θと径m[0,1]を設定できる */
  sCordicConfig.NbRead   	= CORDIC_NBREAD_1;          	/* 出力データの数。1がm*sinθ, 2がm*cosθ */
  sCordicConfig.InSize      = CORDIC_INSIZE_16BITS;     	/* 入力データの固定小数点位置 */
  sCordicConfig.OutSize   	= CORDIC_OUTSIZE_16BITS;    /* 出力データの固定小数点位置 */
  HAL_CORDIC_Configure(&hcordic, &sCordicConfig);
  /* USER CODE END CORDIC_Init 2 */

}

static void MX_FMAC_Init(void)
{

  hfmac.Instance = FMAC;
  if (HAL_FMAC_Init(&hfmac) != HAL_OK)
  {
    Error_Handler();
  }

}

static void MX_SPI1_Init(void)
{

  /* SPI1 parameter configuration*/
  hspi1.Instance = SPI1;
  hspi1.Init.Mode = SPI_MODE_MASTER;
  hspi1.Init.Direction = SPI_DIRECTION_2LINES;
  hspi1.Init.DataSize = SPI_DATASIZE_16BIT;
  hspi1.Init.CLKPolarity = SPI_POLARITY_LOW;
  hspi1.Init.CLKPhase = SPI_PHASE_2EDGE;
  hspi1.Init.NSS = SPI_NSS_SOFT;
  hspi1.Init.BaudRatePrescaler = SPI_BAUDRATEPRESCALER_16;
  hspi1.Init.FirstBit = SPI_FIRSTBIT_MSB;
  hspi1.Init.TIMode = SPI_TIMODE_DISABLE;
  hspi1.Init.CRCCalculation = SPI_CRCCALCULATION_DISABLE;
  hspi1.Init.CRCPolynomial = 7;
  hspi1.Init.CRCLength = SPI_CRC_LENGTH_DATASIZE;
  hspi1.Init.NSSPMode = SPI_NSS_PULSE_DISABLE;
  if (HAL_SPI_Init(&hspi1) != HAL_OK)
  {
    Error_Handler();
  }

}

static void MX_TIM1_Init(void)
{

  TIM_ClockConfigTypeDef sClockSourceConfig = {0};
  TIM_MasterConfigTypeDef sMasterConfig = {0};
  TIM_OC_InitTypeDef sConfigOC = {0};
  TIM_BreakDeadTimeConfigTypeDef sBreakDeadTimeConfig = {0};

  htim1.Instance = TIM1;
  htim1.Init.Prescaler = 0;
  htim1.Init.CounterMode = TIM_COUNTERMODE_CENTERALIGNED3;
  htim1.Init.Period = 3999;
  htim1.Init.ClockDivision = TIM_CLOCKDIVISION_DIV1;
  htim1.Init.RepetitionCounter = 0;
  htim1.Init.AutoReloadPreload = TIM_AUTORELOAD_PRELOAD_DISABLE;
  if (HAL_TIM_Base_Init(&htim1) != HAL_OK)
  {
    Error_Handler();
  }
  sClockSourceConfig.ClockSource = TIM_CLOCKSOURCE_INTERNAL;
  if (HAL_TIM_ConfigClockSource(&htim1, &sClockSourceConfig) != HAL_OK)
  {
    Error_Handler();
  }
  if (HAL_TIM_PWM_Init(&htim1) != HAL_OK)
  {
    Error_Handler();
  }
  sMasterConfig.MasterOutputTrigger = TIM_TRGO_UPDATE;
  sMasterConfig.MasterOutputTrigger2 = TIM_TRGO2_OC4REF;
  sMasterConfig.MasterSlaveMode = TIM_MASTERSLAVEMODE_DISABLE;
  if (HAL_TIMEx_MasterConfigSynchronization(&htim1, &sMasterConfig) != HAL_OK)
  {
    Error_Handler();
  }
  sConfigOC.OCMode = TIM_OCMODE_PWM1;
  sConfigOC.Pulse = 0;
  sConfigOC.OCPolarity = TIM_OCPOLARITY_HIGH;
  sConfigOC.OCNPolarity = TIM_OCNPOLARITY_HIGH;
  sConfigOC.OCFastMode = TIM_OCFAST_DISABLE;
  sConfigOC.OCIdleState = TIM_OCIDLESTATE_RESET;
  sConfigOC.OCNIdleState = TIM_OCNIDLESTATE_RESET;
  if (HAL_TIM_PWM_ConfigChannel(&htim1, &sConfigOC, TIM_CHANNEL_1) != HAL_OK)
  {
    Error_Handler();
  }
  if (HAL_TIM_PWM_ConfigChannel(&htim1, &sConfigOC, TIM_CHANNEL_2) != HAL_OK)
  {
    Error_Handler();
  }
  if (HAL_TIM_PWM_ConfigChannel(&htim1, &sConfigOC, TIM_CHANNEL_3) != HAL_OK)
  {
    Error_Handler();
  }
  sConfigOC.OCMode = TIM_OCMODE_PWM2;
  if (HAL_TIM_PWM_ConfigChannel(&htim1, &sConfigOC, TIM_CHANNEL_4) != HAL_OK)
  {
    Error_Handler();
  }
  sBreakDeadTimeConfig.OffStateRunMode = TIM_OSSR_DISABLE;
  sBreakDeadTimeConfig.OffStateIDLEMode = TIM_OSSI_DISABLE;
  sBreakDeadTimeConfig.LockLevel = TIM_LOCKLEVEL_OFF;
  sBreakDeadTimeConfig.DeadTime = 0;
  sBreakDeadTimeConfig.BreakState = TIM_BREAK_DISABLE;
  sBreakDeadTimeConfig.BreakPolarity = TIM_BREAKPOLARITY_HIGH;
  sBreakDeadTimeConfig.BreakFilter = 0;
  sBreakDeadTimeConfig.BreakAFMode = TIM_BREAK_AFMODE_INPUT;
  sBreakDeadTimeConfig.Break2State = TIM_BREAK2_DISABLE;
  sBreakDeadTimeConfig.Break2Polarity = TIM_BREAK2POLARITY_HIGH;
  sBreakDeadTimeConfig.Break2Filter = 0;
  sBreakDeadTimeConfig.Break2AFMode = TIM_BREAK_AFMODE_INPUT;
  sBreakDeadTimeConfig.AutomaticOutput = TIM_AUTOMATICOUTPUT_DISABLE;
  if (HAL_TIMEx_ConfigBreakDeadTime(&htim1, &sBreakDeadTimeConfig) != HAL_OK)
  {
    Error_Handler();
  }
  HAL_TIM_MspPostInit(&htim1);

}

static void MX_TIM3_Init(void)
{

  TIM_ClockConfigTypeDef sClockSourceConfig = {0};
  TIM_MasterConfigTypeDef sMasterConfig = {0};

  htim3.Instance = TIM3;
  htim3.Init.Prescaler = 15;
  htim3.Init.CounterMode = TIM_COUNTERMODE_UP;
  htim3.Init.Period = 65535;
  htim3.Init.ClockDivision = TIM_CLOCKDIVISION_DIV1;
  htim3.Init.AutoReloadPreload = TIM_AUTORELOAD_PRELOAD_DISABLE;
  if (HAL_TIM_Base_Init(&htim3) != HAL_OK)
  {
    Error_Handler();
  }
  sClockSourceConfig.ClockSource = TIM_CLOCKSOURCE_INTERNAL;
  if (HAL_TIM_ConfigClockSource(&htim3, &sClockSourceConfig) != HAL_OK)
  {
    Error_Handler();
  }
  sMasterConfig.MasterOutputTrigger = TIM_TRGO_RESET;
  sMasterConfig.MasterSlaveMode = TIM_MASTERSLAVEMODE_DISABLE;
  if (HAL_TIMEx_MasterConfigSynchronization(&htim3, &sMasterConfig) != HAL_OK)
  {
    Error_Handler();
  }

}

static void MX_GPIO_Init(void)
{
  GPIO_InitTypeDef GPIO_InitStruct = {0};

  /* GPIO Ports Clock Enable */
  __HAL_RCC_GPIOC_CLK_ENABLE();
  __HAL_RCC_GPIOF_CLK_ENABLE();
  __HAL_RCC_GPIOA_CLK_ENABLE();
  __HAL_RCC_GPIOB_CLK_ENABLE();

  /*Configure GPIO pin Output Level */
  HAL_GPIO_WritePin(GPIOC, INLA_Pin|INLC_Pin|INLB_Pin, GPIO_PIN_RESET);

  /*Configure GPIO pin Output Level */
  HAL_GPIO_WritePin(GPIOB, CS1_Encoder_Pin|CS1_MD_Pin, GPIO_PIN_SET);

  /*Configure GPIO pin Output Level */
  HAL_GPIO_WritePin(GPIOB, MD_CAL_Pin|TestPoint0_Pin|TestPoint1_Pin|LED0_Pin, GPIO_PIN_RESET);

  /*Configure GPIO pin Output Level */
  HAL_GPIO_WritePin(GPIOA, LED1_Pin|MD_ENABLE_Pin, GPIO_PIN_RESET);

  /*Configure GPIO pins : INLA_Pin INLC_Pin INLB_Pin */
  GPIO_InitStruct.Pin = INLA_Pin|INLC_Pin|INLB_Pin;
  GPIO_InitStruct.Mode = GPIO_MODE_OUTPUT_PP;
  GPIO_InitStruct.Pull = GPIO_NOPULL;
  GPIO_InitStruct.Speed = GPIO_SPEED_FREQ_LOW;
  HAL_GPIO_Init(GPIOC, &GPIO_InitStruct);

  /*Configure GPIO pin : MD_nFAULT_Pin */
  GPIO_InitStruct.Pin = MD_nFAULT_Pin;
  GPIO_InitStruct.Mode = GPIO_MODE_INPUT;
  GPIO_InitStruct.Pull = GPIO_NOPULL;
  HAL_GPIO_Init(MD_nFAULT_GPIO_Port, &GPIO_InitStruct);

  /*Configure GPIO pins : CS1_Encoder_Pin CS1_MD_Pin MD_CAL_Pin TestPoint0_Pin
                           TestPoint1_Pin LED0_Pin */
  GPIO_InitStruct.Pin = CS1_Encoder_Pin|CS1_MD_Pin|MD_CAL_Pin|TestPoint0_Pin
                          |TestPoint1_Pin|LED0_Pin;
  GPIO_InitStruct.Mode = GPIO_MODE_OUTPUT_PP;
  GPIO_InitStruct.Pull = GPIO_NOPULL;
  GPIO_InitStruct.Speed = GPIO_SPEED_FREQ_LOW;
  HAL_GPIO_Init(GPIOB, &GPIO_InitStruct);

  /*Configure GPIO pins : Slide0_Pin DIP1_Pin DIP3_Pin DIP2_Pin
                           DIP0_Pin */
  GPIO_InitStruct.Pin = Slide0_Pin|DIP1_Pin|DIP3_Pin|DIP2_Pin
                          |DIP0_Pin;
  GPIO_InitStruct.Mode = GPIO_MODE_INPUT;
  GPIO_InitStruct.Pull = GPIO_NOPULL;
  HAL_GPIO_Init(GPIOB, &GPIO_InitStruct);

  /*Configure GPIO pins : LED1_Pin MD_ENABLE_Pin */
  GPIO_InitStruct.Pin = LED1_Pin|MD_ENABLE_Pin;
  GPIO_InitStruct.Mode = GPIO_MODE_OUTPUT_PP;
  GPIO_InitStruct.Pull = GPIO_NOPULL;
  GPIO_InitStruct.Speed = GPIO_SPEED_FREQ_LOW;
  HAL_GPIO_Init(GPIOA, &GPIO_InitStruct);

}

/* USER CODE BEGIN 4 */
void DRV8323SHandleArray_setup(__GPIO_Handle_TypeDef* ptr_GPIO_Handle_Array, __PWM_Handle_TypeDef* ptr_PWM_Handle_Array){
//DRV8323 GPIO setup//
	ptr_GPIO_Handle_Array[0].GPIOx = MD_ENABLE_GPIO_Port; //ENABLE
	ptr_GPIO_Handle_Array[0].GPIO_Pin = MD_ENABLE_Pin;

	ptr_GPIO_Handle_Array[1].GPIOx = MD_nFAULT_GPIO_Port; //nFAULT
	ptr_GPIO_Handle_Array[1].GPIO_Pin = MD_nFAULT_Pin;

	ptr_GPIO_Handle_Array[2].GPIOx = MD_CAL_GPIO_Port; //CAL
	ptr_GPIO_Handle_Array[2].GPIO_Pin = MD_CAL_Pin;

	ptr_GPIO_Handle_Array[3].GPIOx = CS1_MD_GPIO_Port; //CS1_MD
	ptr_GPIO_Handle_Array[3].GPIO_Pin = CS1_MD_Pin;

	ptr_GPIO_Handle_Array[4].GPIOx = INLA_GPIO_Port; //INLA
	ptr_GPIO_Handle_Array[4].GPIO_Pin = INLA_Pin;

	ptr_GPIO_Handle_Array[5].GPIOx = INLB_GPIO_Port; //INLB
	ptr_GPIO_Handle_Array[5].GPIO_Pin = INLB_Pin;

	ptr_GPIO_Handle_Array[6].GPIOx = INLC_GPIO_Port; //INLC
	ptr_GPIO_Handle_Array[6].GPIO_Pin = INLC_Pin;

//DRV8323 PWM setup, you need to change following manually//
	ptr_PWM_Handle_Array[0].TIMx = TIM1; //INHA
	ptr_PWM_Handle_Array[0].TIM_Channel = TIM_CHANNEL_1;//

	ptr_PWM_Handle_Array[1].TIMx = TIM1; //INHB
	ptr_PWM_Handle_Array[1].TIM_Channel = TIM_CHANNEL_2;

	ptr_PWM_Handle_Array[2].TIMx = TIM1; //INHC
	ptr_PWM_Handle_Array[2].TIM_Channel = TIM_CHANNEL_3;
}

void FMAC_setup_FIR(int16_t* coeff){
  uint32_t reg;

  /* reset FMAC */
  reg = FMAC->CR;
  reg &= ~(0x1 << 16);// mask RESET bit
  reg |= (0x1 << 16);// RESET=1
  FMAC->CR = reg;

  HAL_Delay(1);// wait for reset

  reg = FMAC->CR;
  reg &= ~(0x1 << 16);// mask RESET bit
  reg |= (0x0 << 16);// RESET=0
  FMAC->CR = reg;

  /* set FMAC config */
  //reset START bit
  reg = FMAC->PARAM;
  reg &= ~(0x1 << 31);// mask START bit
  reg |= (0x0 << 31);// START=0
  FMAC->PARAM = reg;

  //set CR register
  reg = FMAC->CR;
  reg &= ~(0x0000831F);// mask CLIPEN, DMA, IRQ bits
  reg |= (0x1 << 15);// CLIPEN=1
  FMAC->CR = reg;

  //set X1BUFCFG register
  reg = FMAC->X1BUFCFG;
  reg &= ~((0x3 << 24) | (0xFF << 8) | 0xFF);// mask FULL_WM, BUF_SIZE, BASE bits
  reg |= ((0x0 << 24) | (FMAC_window << 8) | FMAC_window);// FULL_WM=0, SIZE=20, BASE=20
  FMAC->X1BUFCFG = reg;

  //set X2BUFCFG register
  reg = FMAC->X2BUFCFG;
  reg &= ~((0xFF << 8) | 0xFF);//mask BUF_SIZE, BASE bits
  reg |= ((FMAC_window << 8) | 0x0);// SIZE=20, BASE=0
  FMAC->X2BUFCFG = reg;

  //set YBUFCFG register
  reg = FMAC->YBUFCFG;
  reg &= ~((0x3 << 24) | (0xFF << 8) | 0xFF);// mask FULL_WM, BUF_SIZE, BASE bits
  reg |= ((0x0 << 24) | (0x1 << 8) | FMAC_window*2);// FULL_WM=0, SIZE=1, BASE=40
  FMAC->YBUFCFG = reg;

  /* start preload */
  //preload X1 with 0
  reg = FMAC->PARAM;
  reg &= ~(0x1 << 31);// mask START bit
  reg |= (0x0 << 31);// START=0
  FMAC->PARAM = reg;

  reg = FMAC->PARAM;
  reg &= ~((0x7F << 24) | 0xFF);// mask FUNC, P bits
  reg |= ((0x1 << 24) | FMAC_window);// FUNC=1(X1), P=20
  FMAC->PARAM = reg;

  reg = FMAC->PARAM;
  reg &= ~(0x1 << 31);// mask START bit
  reg |= (0x1 << 31);// START=1
  FMAC->PARAM = reg;

  for (int i=0; i<FMAC_window; i++) {
      WRITE_REG(FMAC->WDATA, 0);
  }
  while ((READ_REG(FMAC->PARAM) & (0x1 << 31)) != 0) {}

  // preload X2 with coeff[]
  reg = FMAC->PARAM;
  reg &= ~(0x1 << 31);// mask START bit
  reg |= (0x0 << 31);// START=0
  FMAC->PARAM = reg;

  reg = FMAC->PARAM;
  reg &= ~((0x7F << 24) | (0xFF << 8) | 0xFF);// mask FUNC, Q, P bits
  reg |= ((0x2 << 24) | (0x0 << 8) | FMAC_window);// FUNC=2(X2), Q=0, P=20
  FMAC->PARAM = reg;

  reg = FMAC->PARAM;
  reg &= ~(0x1 << 31);// mask START bit
  reg |= (0x1 << 31);// START=1
  FMAC->PARAM = reg;

  for (int i=0; i<FMAC_window; i++) {
      WRITE_REG(FMAC->WDATA, coeff[i]);
  }
  while ((READ_REG(FMAC->PARAM) & (0x1 << 31)) != 0) {}

  // preload Y with 0
  reg = FMAC->PARAM;
  reg &= ~(0x1 << 31);// mask START bit
  reg |= (0x0 << 31);// START=0
  FMAC->PARAM = reg;

  reg = FMAC->PARAM;
  reg &= ~((0x7F << 24) | 0xFF);// mask FUNC, P bits
  reg |= ((0x3 << 24) | 0x1);// FUNC=3(Y), P=1
  FMAC->PARAM = reg;

  reg = FMAC->PARAM;
  reg &= ~(0x1 << 31);// mask START bit
  reg |= (0x1 << 31);// START=1
  FMAC->PARAM = reg;

  WRITE_REG(FMAC->WDATA, 0);
  while ((READ_REG(FMAC->PARAM) & (0x1 << 31)) != 0) {}

  /* set FIR */
  reg = FMAC->PARAM;
  reg &= ~(0x1 << 31);// mask START bit
  reg |= (0x0 << 31);// START=0
  FMAC->PARAM = reg;

  reg = FMAC->PARAM;
  reg &= ~((0x7F << 24) | (0xFF << 16) | 0xFF);// mask FUNC, R, P bits
  reg |= ((0x8 << 24) | (0x0 << 16) | FMAC_window);// FUNC=8(FIR), R=0, P=20
  FMAC->PARAM = reg;

  //start FIR
  reg = FMAC->PARAM;
  reg &= ~(0x1 << 31);// mask START bit
  reg |= (0x1 << 31);// START=1
  FMAC->PARAM = reg;

  //read once to start processing
  int32_t temp = READ_REG(FMAC->RDATA);

  //wait for FIR to complete
  while ((READ_REG(FMAC->SR) & 0x1) != 0) {}

  //read result to clear Y buffer
  temp = READ_REG(FMAC->RDATA);
}

void write_FMAC(int16_t data_in){
  int32_t temp = 0;

  if((FMAC->SR & (0x1)) == 0){ // YEMPTY==0
    if((FMAC->SR & (0x1 << 1)) == 0){ // X1FULL==0 : Yバッファが満杯、Xバッファは空
      // RDATAを1回読み出す
      temp = READ_REG(FMAC->RDATA);

    }else{ // X1FULL!=0 : Yバッファが満杯、Xバッファも満杯
      // RDATAを1回読み出す
      temp = READ_REG(FMAC->RDATA);
      // FMACが停止してYEMPTYが0になる(結果が出力されてYバッファが埋まる)まで待つ
      while((FMAC->SR & (0x1)) != 0){}
      // RDATAをもう1回読み出す
      temp = READ_REG(FMAC->RDATA);
    }

  }else{ // YEMPTY!=0
    if((FMAC->SR & (0x1 << 1)) == 0){ // X1FULL==0 : Yバッファが空、Xバッファも空
      // そのまま書き込める

    }else{ // X1FULL!=0 : Yバッファが空、Xバッファは満杯
      // FMACが停止してYEMPTYが0になる(結果が出力されてYバッファが埋まる)まで待つ
      while((FMAC->SR & (0x1)) != 0){}
      // RDATAを1回読み出す
      temp = READ_REG(FMAC->RDATA);
      // FMACが停止してYEMPTYが0になる(結果が出力されてYバッファが埋まる)まで待つ
      while((FMAC->SR & (0x1)) != 0){}
      // RDATAをもう1回読み出す
      temp = READ_REG(FMAC->RDATA);
      while((FMAC->SR & (1 << 1)) != 0){}// X1FULLがクリアされるまで待つ
    }
  }
  // WDATAに最新データを書き込む
  FMAC->WDATA = WRITE_REG(FMAC->WDATA, data_in);
}

int16_t read_FMAC(){
  int32_t temp = 0;
  int32_t data_out = 0;

  while((FMAC->SR & (0x1)) != 0){} // YEMPTY=0になるまで待つ
  if((FMAC->SR & (0x1 << 1)) == 0){ // X1FULL==0
    // 正常に最新データが処理されていると判断できる
    data_out = READ_REG(FMAC->RDATA);
  } else { // X1FULL!=0
    // 最新データが処理されていない可能性がある
    // RDATAを1回読み出して捨てる
    temp = READ_REG(FMAC->RDATA);
    // FMACが停止してYEMPTYが0になる(結果が出力されてYバッファが埋まる)まで待つ
    while((FMAC->SR & (0x1)) != 0){}
    // RDATAをもう1回読み出す
    data_out = READ_REG(FMAC->RDATA);
  }
  return (int16_t)data_out;
}

/* USER CODE END 4 */

void Error_Handler(void)
{
  __disable_irq();
  while (1)
  {
  }
}
